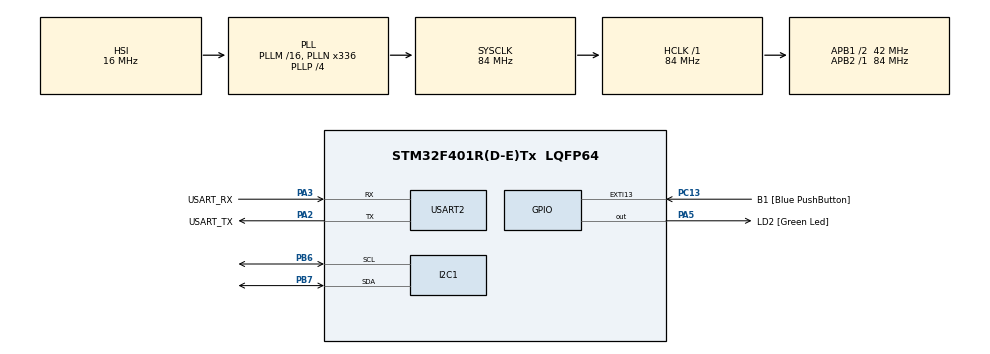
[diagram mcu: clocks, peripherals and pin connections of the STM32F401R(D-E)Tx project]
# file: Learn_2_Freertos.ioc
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FREERTOS.Tasks01=defaultTask,24,128,StartDefaultTask,Default,NULL,Dynamic,NULL,NULL
FREERTOS.configUSE_NEWLIB_REENTRANT=1
IWDG.Prescaler=IWDG_PRESCALER_32
IWDG.Reload=3999
Mcu.Family=STM32F4
Mcu.Name=STM32F401R(D-E)Tx
Mcu.Package=LQFP64
NVIC.I2C1_EV_IRQn=true\:5\:0\:false\:false\:true\:true\:true\:true\:true
NVIC.PriorityGroup=NVIC_PRIORITYGROUP_4
NVIC.TIM1_UP_TIM10_IRQn=true\:15\:0\:false\:false\:true\:false\:false\:true\:true
NVIC.TimeBase=TIM1_UP_TIM10_IRQn
NVIC.TimeBaseIP=TIM1
PA13.GPIO_Label=TMS
PA13.Mode=Trace_Asynchronous_SW
PA13.Signal=SYS_JTMS-SWDIO
PA14.GPIO_Label=TCK
PA14.Mode=Trace_Asynchronous_SW
PA14.Signal=SYS_JTCK-SWCLK
PA2.GPIO_Label=USART_TX
PA2.GPIO_Mode=GPIO_MODE_AF_PP
PA2.GPIO_PuPd=GPIO_NOPULL
PA2.GPIO_Speed=GPIO_SPEED_FREQ_LOW
PA2.Mode=Asynchronous
PA2.Signal=USART2_TX
PA3.GPIO_Label=USART_RX
PA3.GPIO_Mode=GPIO_MODE_AF_PP
PA3.GPIO_PuPd=GPIO_NOPULL
PA3.GPIO_Speed=GPIO_SPEED_FREQ_LOW
PA3.Mode=Asynchronous
PA3.Signal=USART2_RX
PA5.GPIO_Label=LD2 [Green Led]
PA5.GPIO_Mode=GPIO_MODE_OUTPUT_PP
PA5.GPIO_PuPd=GPIO_NOPULL
PA5.GPIO_Speed=GPIO_SPEED_FREQ_LOW
PA5.Signal=GPIO_Output
PB3.GPIO_Label=SWO
PB3.Mode=Trace_Asynchronous_SW
PB3.Signal=SYS_JTDO-SWO
PB6.Mode=I2C
PB6.Signal=I2C1_SCL
PB7.Mode=I2C
PB7.Signal=I2C1_SDA
PC13-ANTI_TAMP.GPIO_Label=B1 [Blue PushButton]
PC13-ANTI_TAMP.GPIO_ModeDefaultEXTI=GPIO_MODE_IT_FALLING
PC13-ANTI_TAMP.GPIO_PuPd=GPIO_NOPULL
PC13-ANTI_TAMP.Signal=GPXTI13
PC14-OSC32_IN.Mode=LSE-External-Oscillator
PC14-OSC32_IN.Signal=RCC_OSC32_IN
PC15-OSC32_OUT.Mode=LSE-External-Oscillator
PC15-OSC32_OUT.Signal=RCC_OSC32_OUT
PH0\ -\ OSC_IN.Mode=HSE-External-Clock-Source
PH0\ -\ OSC_IN.Signal=RCC_OSC_IN
PH1\ -\ OSC_OUT.Mode=HSE-External-Clock-Source
PH1\ -\ OSC_OUT.Signal=RCC_OSC_OUT
ProjectManager.HeapSize=0x200
ProjectManager.StackSize=0x400
ProjectManager.TargetToolchain=STM32CubeIDE
RCC.48MHZClocksFreq_Value=48000000
RCC.AHBFreq_Value=84000000
RCC.APB1CLKDivider=RCC_HCLK_DIV2
RCC.APB1Freq_Value=42000000
RCC.APB1TimFreq_Value=84000000
RCC.APB2Freq_Value=84000000
RCC.APB2TimFreq_Value=84000000
RCC.CortexFreq_Value=84000000
RCC.HCLKFreq_Value=84000000
RCC.HSE_VALUE=8000000
RCC.HSI_VALUE=16000000
RCC.PLLN=336
RCC.PLLP=RCC_PLLP_DIV4
RCC.PLLQ=7
RCC.SYSCLKFreq_VALUE=84000000
RCC.SYSCLKSource=RCC_SYSCLKSOURCE_PLLCLK
RCC.VCOOutputFreq_Value=336000000
USART2.VirtualMode=VM_ASYNC
VP_FREERTOS_VS_CMSIS_V2.Mode=CMSIS_V2
VP_IWDG_VS_IWDG.Mode=IWDG_Activate
VP_SYS_VS_tim1.Mode=TIM1
board=NUCLEO-F401RE

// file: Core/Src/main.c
/* USER CODE BEGIN Header */
/**
  ******************************************************************************
  * @file           : main.c
  * @brief          : Main program body
  ******************************************************************************
  * @attention
  *
  * Copyright (c) 2026 STMicroelectronics.
  * All rights reserved.
  *
  * This software is licensed under terms that can be found in the LICENSE file
  * in the root directory of this software component.
  * If no LICENSE file comes with this software, it is provided AS-IS.
  *
  ******************************************************************************
  */
/* USER CODE END Header */
#include "main.h"
#include "cmsis_os.h"

/* USER CODE BEGIN Includes */
#include "FreeRTOS.h"
#include "task.h"
#include "queue.h"
#include "mpu6050.h"
#include "string.h"
#include <stdio.h>
#include "semphr.h"
/* USER CODE END Includes */

I2C_HandleTypeDef hi2c1;

IWDG_HandleTypeDef hiwdg;

UART_HandleTypeDef huart2;

/* Definitions for defaultTask */
osThreadId_t defaultTaskHandle;
const osThreadAttr_t defaultTask_attributes = {
  .name = "defaultTask",
  .stack_size = 128 * 4,
  .priority = (osPriority_t) osPriorityNormal,
};
/* USER CODE BEGIN PV */

QueueHandle_t xSensorQueue;
QueueHandle_t xAlertQueue;
SemaphoreHandle_t xUartMutex ;

/* USER CODE END PV */

void SystemClock_Config(void);
static void MX_GPIO_Init(void);
static void MX_USART2_UART_Init(void);
static void MX_I2C1_Init(void);
static void MX_IWDG_Init(void);
void StartDefaultTask(void *argument);

/* USER CODE BEGIN PFP */
void ledBlink(void *pvParameters);
void printTask(void *pvParameters);
void mpuRead(void *pvParameters);
void uart_print(const char*);
void alertTask(void *pvParameters);
void watchdogTask(void *pvParameters);
/* USER CODE END PFP */

int main(void)
{

  /* MCU Configuration--------------------------------------------------------*/

  /* Reset of all peripherals, Initializes the Flash interface and the Systick. */
  HAL_Init();

  /* Configure the system clock */
  SystemClock_Config();

  /* Initialize all configured peripherals */
  MX_GPIO_Init();
  MX_USART2_UART_Init();
  MX_I2C1_Init();
  MX_IWDG_Init();
  /* USER CODE BEGIN 2 */

  HAL_UART_Transmit(&huart2, (uint8_t*)"Starting...\r\n", 13, HAL_MAX_DELAY);
  /* USER CODE END 2 */

  /* Init scheduler */
  osKernelInitialize();

  /* Create the thread(s) */
  /* creation of defaultTask */
  defaultTaskHandle = osThreadNew(StartDefaultTask, NULL, &defaultTask_attributes);

  /* USER CODE BEGIN RTOS_EVENTS */
  xSensorQueue = xQueueCreate(5,sizeof(MPU6050_Data_t));
  xAlertQueue = xQueueCreate(5,sizeof(MPU6050_Data_t));
  xUartMutex = xSemaphoreCreateMutex();
  if (xSensorQueue == NULL) {
      /* Queue creation failed — not enough heap */
      Error_Handler();
  }
  if (xAlertQueue == NULL) {
      /* Queue creation failed — not enough heap */
      Error_Handler();
  }

  /* Create Task 1 — LED blink, priority 1 */
  xTaskCreate(ledBlink,    // function pointer
              "LED",       // name (for debugger)
              128,         // stack size in 32-bit words (= 512 bytes)
              NULL,        // parameter to pass
              1,           // priority
              NULL);       // task handle (not needed now)

  /* Create Task 2 — UART print, priority 1 */
  xTaskCreate(printTask,
              "Print",
              256,         // larger stack because of snprintf
              NULL,
              2,
              NULL);
//  /* Create Task for reading the MPU Data*/
  xTaskCreate(mpuRead,"MPU",512,NULL,3, NULL);
  xTaskCreate(alertTask,"Alert",256,NULL,1, NULL);
  xTaskCreate(watchdogTask, "WDG", 256, NULL, 1, NULL);

  vTaskStartScheduler();
  /* add events, ... */
  /* USER CODE END RTOS_EVENTS */

  /* Start scheduler */
  osKernelStart();

  /* We should never get here as control is now taken by the scheduler */

  /* Infinite loop */
  while (1)
  {

  }
}

void SystemClock_Config(void)
{
  RCC_OscInitTypeDef RCC_OscInitStruct = {0};
  RCC_ClkInitTypeDef RCC_ClkInitStruct = {0};

  /** Configure the main internal regulator output voltage
  */
  __HAL_RCC_PWR_CLK_ENABLE();
  __HAL_PWR_VOLTAGESCALING_CONFIG(PWR_REGULATOR_VOLTAGE_SCALE2);

  /** Initializes the RCC Oscillators according to the specified parameters
  * in the RCC_OscInitTypeDef structure.
  */
  RCC_OscInitStruct.OscillatorType = RCC_OSCILLATORTYPE_HSI|RCC_OSCILLATORTYPE_LSI;
  RCC_OscInitStruct.HSIState = RCC_HSI_ON;
  RCC_OscInitStruct.HSICalibrationValue = RCC_HSICALIBRATION_DEFAULT;
  RCC_OscInitStruct.LSIState = RCC_LSI_ON;
  RCC_OscInitStruct.PLL.PLLState = RCC_PLL_ON;
  RCC_OscInitStruct.PLL.PLLSource = RCC_PLLSOURCE_HSI;
  RCC_OscInitStruct.PLL.PLLM = 16;
  RCC_OscInitStruct.PLL.PLLN = 336;
  RCC_OscInitStruct.PLL.PLLP = RCC_PLLP_DIV4;
  RCC_OscInitStruct.PLL.PLLQ = 7;
  if (HAL_RCC_OscConfig(&RCC_OscInitStruct) != HAL_OK)
  {
    Error_Handler();
  }

  /** Initializes the CPU, AHB and APB buses clocks
  */
  RCC_ClkInitStruct.ClockType = RCC_CLOCKTYPE_HCLK|RCC_CLOCKTYPE_SYSCLK
                              |RCC_CLOCKTYPE_PCLK1|RCC_CLOCKTYPE_PCLK2;
  RCC_ClkInitStruct.SYSCLKSource = RCC_SYSCLKSOURCE_PLLCLK;
  RCC_ClkInitStruct.AHBCLKDivider = RCC_SYSCLK_DIV1;
  RCC_ClkInitStruct.APB1CLKDivider = RCC_HCLK_DIV2;
  RCC_ClkInitStruct.APB2CLKDivider = RCC_HCLK_DIV1;

  if (HAL_RCC_ClockConfig(&RCC_ClkInitStruct, FLASH_LATENCY_2) != HAL_OK)
  {
    Error_Handler();
  }
}

static void MX_I2C1_Init(void)
{

  hi2c1.Instance = I2C1;
  hi2c1.Init.ClockSpeed = 100000;
  hi2c1.Init.DutyCycle = I2C_DUTYCYCLE_2;
  hi2c1.Init.OwnAddress1 = 0;
  hi2c1.Init.AddressingMode = I2C_ADDRESSINGMODE_7BIT;
  hi2c1.Init.DualAddressMode = I2C_DUALADDRESS_DISABLE;
  hi2c1.Init.OwnAddress2 = 0;
  hi2c1.Init.GeneralCallMode = I2C_GENERALCALL_DISABLE;
  hi2c1.Init.NoStretchMode = I2C_NOSTRETCH_DISABLE;
  if (HAL_I2C_Init(&hi2c1) != HAL_OK)
  {
    Error_Handler();
  }

}

static void MX_IWDG_Init(void)
{

  hiwdg.Instance = IWDG;
  hiwdg.Init.Prescaler = IWDG_PRESCALER_32;
  hiwdg.Init.Reload = 3999;
  if (HAL_IWDG_Init(&hiwdg) != HAL_OK)
  {
    Error_Handler();
  }

}

static void MX_USART2_UART_Init(void)
{

  huart2.Instance = USART2;
  huart2.Init.BaudRate = 115200;
  huart2.Init.WordLength = UART_WORDLENGTH_8B;
  huart2.Init.StopBits = UART_STOPBITS_1;
  huart2.Init.Parity = UART_PARITY_NONE;
  huart2.Init.Mode = UART_MODE_TX_RX;
  huart2.Init.HwFlowCtl = UART_HWCONTROL_NONE;
  huart2.Init.OverSampling = UART_OVERSAMPLING_16;
  if (HAL_UART_Init(&huart2) != HAL_OK)
  {
    Error_Handler();
  }

}

static void MX_GPIO_Init(void)
{
  GPIO_InitTypeDef GPIO_InitStruct = {0};

  /* GPIO Ports Clock Enable */
  __HAL_RCC_GPIOC_CLK_ENABLE();
  __HAL_RCC_GPIOH_CLK_ENABLE();
  __HAL_RCC_GPIOA_CLK_ENABLE();
  __HAL_RCC_GPIOB_CLK_ENABLE();

  /*Configure GPIO pin Output Level */
  HAL_GPIO_WritePin(LD2_GPIO_Port, LD2_Pin, GPIO_PIN_RESET);

  /*Configure GPIO pin : B1_Pin */
  GPIO_InitStruct.Pin = B1_Pin;
  GPIO_InitStruct.Mode = GPIO_MODE_IT_FALLING;
  GPIO_InitStruct.Pull = GPIO_NOPULL;
  HAL_GPIO_Init(B1_GPIO_Port, &GPIO_InitStruct);

  /*Configure GPIO pin : LD2_Pin */
  GPIO_InitStruct.Pin = LD2_Pin;
  GPIO_InitStruct.Mode = GPIO_MODE_OUTPUT_PP;
  GPIO_InitStruct.Pull = GPIO_NOPULL;
  GPIO_InitStruct.Speed = GPIO_SPEED_FREQ_LOW;
  HAL_GPIO_Init(LD2_GPIO_Port, &GPIO_InitStruct);

}

/* USER CODE BEGIN 4 */
void ledBlink(void *pvParameters) {
    while (1) {
        HAL_GPIO_TogglePin(GPIOA, GPIO_PIN_5); // change pin for your board
        vTaskDelay(pdMS_TO_TICKS(500));
    }
}

void printTask(void *pvParameters) {
    MPU6050_Data_t data;
    char msg[100];

    while (1) {
    	if(xQueueReceive(xSensorQueue,&data,portMAX_DELAY)==pdTRUE){
    		snprintf(msg, sizeof(msg), "Ax=%.2f Ay=%.2f Az=%.2f | "
                    "Gx=%.1f Gy=%.1f Gz=%.1f | "
                    "T=%.1fC\r\n",
                    data.accel_x, data.accel_y, data.accel_z,
                    data.gyro_x,  data.gyro_y,  data.gyro_z,
                    data.temperature);
//    		HAL_UART_Transmit(&huart2, (uint8_t*)msg, strlen(msg), HAL_MAX_DELAY);
    		HAL_UART_Transmit(&huart2, (uint8_t*)msg, strlen(msg), HAL_MAX_DELAY);
    	}
    	vTaskDelay(pdMS_TO_TICKS(500));
    }
}

void mpuRead(void *pvParameters) {
	MPU6050_Data_t Data;

	if (MPU6050_Init(&hi2c1)==MPU6050_ERROR) {
		char msg[]="Error in MPU Initialisation\r\n";
		HAL_UART_Transmit(&huart2, (uint8_t *)msg, strlen(msg),HAL_MAX_DELAY);
		vTaskDelete(NULL);
	}

	while(1) {
		if(MPU6050_ReadAll(&hi2c1, &Data)==MPU6050_OK) {
			xQueueSend(xSensorQueue,&Data,pdMS_TO_TICKS(10));
			xQueueSend(xAlertQueue,&Data,pdMS_TO_TICKS(10));
		}
		vTaskDelay(pdMS_TO_TICKS(500));
	}
}

void alertTask(void *pvParameters) {
	MPU6050_Data_t data;
	char msg[100];

	while(1) {
		if (xQueueReceive(xAlertQueue, &data,
		                          portMAX_DELAY) == pdTRUE)  {
            float mag = data.accel_x ;
				if (mag > 0.50f){
				snprintf(msg, sizeof(msg),"[ALERT] Vibration detected! mag=%.2fg\r\n", mag);
				uart_print(msg);   //mutex-protected
			}
		}
		vTaskDelay(pdMS_TO_TICKS(200));
	}
}
void uart_print(const char *msg) {
    if (xSemaphoreTake(xUartMutex, pdMS_TO_TICKS(100)) == pdTRUE) {
        HAL_UART_Transmit(&huart2, (uint8_t*)msg,
                          strlen(msg), HAL_MAX_DELAY);
        xSemaphoreGive(xUartMutex);
    }
/*
     If Take fails after 100ms — another task holds it too long
     * In real firmware: log this as an error
*/

}

void watchdogTask(void *pvParameters) {
    char msg[50];
    uint32_t kick_count = 0;

    /* Small startup delay — let other tasks initialize first */
    vTaskDelay(pdMS_TO_TICKS(500));

    while (1) {
        /* Kick the watchdog — resets 4 second countdown */
        HAL_IWDG_Refresh(&hiwdg);

        kick_count++;
        snprintf(msg, sizeof(msg),
            "[WDG] Kicked #%lu\r\n", kick_count);

        uart_print(msg);
        /* Sleep 1 second — well within 4 second timeout */
        vTaskDelay(pdMS_TO_TICKS(1000));
    }
}
/* USER CODE END 4 */

void StartDefaultTask(void *argument)
{
  for(;;)
  {
    osDelay(1);
  }
}

void HAL_TIM_PeriodElapsedCallback(TIM_HandleTypeDef *htim)
{
  if (htim->Instance == TIM1)
  {
    HAL_IncTick();
  }
}

void Error_Handler(void)
{
  __disable_irq();
  while (1)
  {
  }
}
